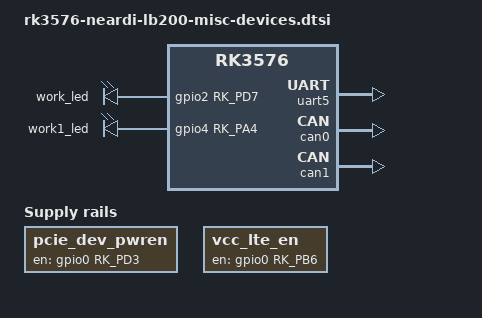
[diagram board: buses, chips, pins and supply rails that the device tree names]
// SPDX-License-Identifier: (GPL-2.0+ OR MIT)
/*
 * Neardi LB200 misc devices (mainline compatible)
 */

#include <dt-bindings/gpio/gpio.h>
#include <dt-bindings/pinctrl/rockchip.h>

/ {
	pcie_dev_pwren: pcie-dev-pwren {
		compatible = "regulator-fixed";
		regulator-name = "Pcie_Pwren";
		regulator-boot-on;
		enable-active-high;
		regulator-always-on;
		gpio = <&gpio0 RK_PD3 GPIO_ACTIVE_HIGH>;
		pinctrl-names = "default";
		pinctrl-0 = <&pwren_pcie>;
	};

	vcc_lte_en: vcc-lte-en {
		compatible = "regulator-fixed";
		regulator-name = "Lte_Pwren";
		regulator-boot-on;
		enable-active-high;
		regulator-always-on;
		gpio = <&gpio0 RK_PB6 GPIO_ACTIVE_HIGH>;
		pinctrl-names = "default";
		pinctrl-0 = <&pwren_lte>;
	};

	leds: leds {
		compatible = "gpio-leds";

		work_led: work {
			gpios = <&gpio2 RK_PD7 GPIO_ACTIVE_HIGH>;
			linux,default-trigger = "heartbeat";
		};

		work1_led: work1 {
			gpios = <&gpio4 RK_PA4 GPIO_ACTIVE_HIGH>;
			linux,default-trigger = "heartbeat";
		};
	};
};

&pcie0 {
	reset-gpios = <&gpio2 RK_PB1 GPIO_ACTIVE_HIGH>;
	pinctrl-names = "default";
	pinctrl-0 = <&pcie_rst>;
	/* No PCIe device populated ("Phy link never came up"); saves ~1.1s boot */
	status = "disabled";
};

&uart5 {
	status = "okay";
	linux,rs485-enabled-at-boot-time;
	rs485-rts-delay = <0 0>;
	rs485-rx-during-tx;
	pinctrl-names = "default";
	/* uart5m2_xfer shares gpio2 PA4/PA5 with sdmmc0; use m0 instead */
	pinctrl-0 = <&uart5m0_xfer>;
};

&can0 {
	assigned-clocks = <&cru CLK_CAN0>;
	assigned-clock-rates = <200000000>;
	pinctrl-names = "default";
	pinctrl-0 = <&can0m0_pins>;
	status = "okay";
};

&can1 {
	assigned-clocks = <&cru CLK_CAN1>;
	assigned-clock-rates = <200000000>;
	pinctrl-names = "default";
	pinctrl-0 = <&can1m0_pins>;
	status = "okay";
};

/* SPI NOR not populated: JEDEC ID reads 00 00 00 in both SPL and Linux */
&sfc1 {
	status = "disabled";
	pinctrl-names = "default";
	pinctrl-0 = <&fspi1m1_pins &fspi1m1_csn0>;

	flash@0 {
		compatible = "jedec,spi-nor";
		reg = <0>;
		spi-max-frequency = <10000000>;
		spi-rx-bus-width = <4>;
		spi-tx-bus-width = <1>;
	};
};

&pinctrl {
	lte {
		pwren_lte: pwren-lte {
			rockchip,pins = <0 RK_PB6 RK_FUNC_GPIO &pcfg_pull_none>;
		};
	};

	pcie {
		pcie_rst: pcie-rst {
			rockchip,pins = <2 RK_PB1 RK_FUNC_GPIO &pcfg_pull_none>;
		};

		pwren_pcie: pwren-pcie {
			rockchip,pins = <0 RK_PD3 RK_FUNC_GPIO &pcfg_pull_none>;
		};
	};
};
